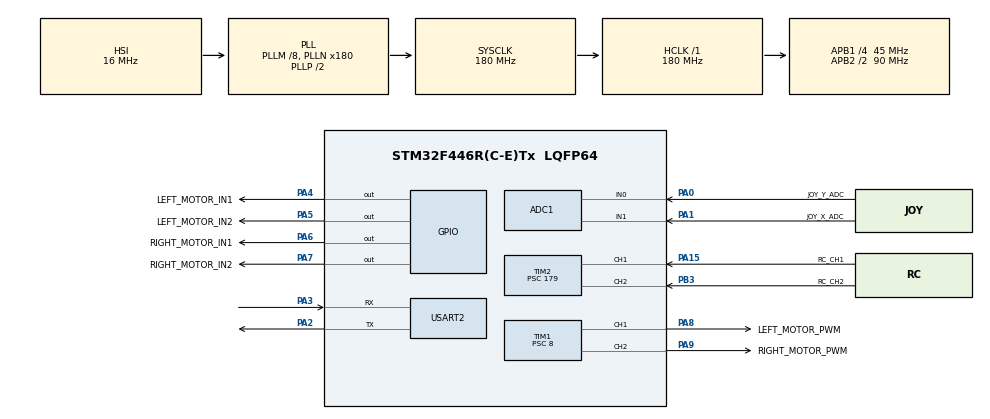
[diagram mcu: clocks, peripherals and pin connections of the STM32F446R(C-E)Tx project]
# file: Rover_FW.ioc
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ADC1.Channel-0\#ChannelRegularConversion=ADC_CHANNEL_0
ADC1.NbrOfConversionFlag=1
ADC1.Rank-0\#ChannelRegularConversion=1
ADC1.SamplingTime-0\#ChannelRegularConversion=ADC_SAMPLETIME_3CYCLES
ADC1.master=1
FREERTOS.Tasks01=defaultTask,24,128,StartDefaultTask,Default,NULL,Dynamic,NULL,NULL
IWDG.Prescaler=IWDG_PRESCALER_32
Mcu.Family=STM32F4
Mcu.Name=STM32F446R(C-E)Tx
Mcu.Package=LQFP64
NVIC.PriorityGroup=NVIC_PRIORITYGROUP_4
NVIC.TIM2_IRQn=true\:5\:0\:false\:false\:true\:true\:true\:true\:true
PA0-WKUP.GPIO_Label=JOY_Y_ADC
PA0-WKUP.Signal=ADCx_IN0
PA1.GPIO_Label=JOY_X_ADC
PA1.Signal=ADCx_IN1
PA15.GPIO_Label=RC_CH1
PA15.Signal=S_TIM2_CH1_ETR
PA2.Mode=Asynchronous
PA2.Signal=USART2_TX
PA3.Mode=Asynchronous
PA3.Signal=USART2_RX
PA4.GPIO_Label=LEFT_MOTOR_IN1
PA4.Signal=GPIO_Output
PA5.GPIO_Label=LEFT_MOTOR_IN2
PA5.Signal=GPIO_Output
PA6.GPIO_Label=RIGHT_MOTOR_IN1
PA6.Signal=GPIO_Output
PA7.GPIO_Label=RIGHT_MOTOR_IN2
PA7.Signal=GPIO_Output
PA8.GPIO_Label=LEFT_MOTOR_PWM
PA8.Signal=S_TIM1_CH1
PA9.GPIO_Label=RIGHT_MOTOR_PWM
PA9.Signal=S_TIM1_CH2
PB3.GPIO_Label=RC_CH2
PB3.Signal=S_TIM2_CH2
ProjectManager.HeapSize=0x200
ProjectManager.StackSize=0x400
ProjectManager.TargetToolchain=STM32CubeIDE
RCC.AHBFreq_Value=180000000
RCC.APB1CLKDivider=RCC_HCLK_DIV4
RCC.APB1Freq_Value=45000000
RCC.APB1TimFreq_Value=90000000
RCC.APB2CLKDivider=RCC_HCLK_DIV2
RCC.APB2Freq_Value=90000000
RCC.APB2TimFreq_Value=180000000
RCC.CortexFreq_Value=180000000
RCC.HCLKFreq_Value=180000000
RCC.PLLM=8
RCC.PLLN=180
RCC.SYSCLKFreq_VALUE=180000000
RCC.SYSCLKSource=RCC_SYSCLKSOURCE_PLLCLK
RCC.USBFreq_Value=180000000
RCC.VCOOutputFreq_Value=360000000
SH.ADCx_IN0.0=ADC1_IN0,IN0
SH.ADCx_IN1.0=ADC1_IN1,IN1
SH.S_TIM1_CH1.0=TIM1_CH1,PWM Generation1 CH1
SH.S_TIM1_CH2.0=TIM1_CH2,PWM Generation2 CH2
SH.S_TIM2_CH1_ETR.0=TIM2_CH1,Input_Capture1_from_TI1
SH.S_TIM2_CH2.0=TIM2_CH2,Input_Capture2_from_TI2
TIM1.Channel-PWM\ Generation1\ CH1=TIM_CHANNEL_1
TIM1.Channel-PWM\ Generation2\ CH2=TIM_CHANNEL_2
TIM1.Period=999
TIM1.Prescaler=8
TIM2.Channel-Input_Capture1_from_TI1=TIM_CHANNEL_1
TIM2.Channel-Input_Capture2_from_TI2=TIM_CHANNEL_2
TIM2.Prescaler=179
USART2.VirtualMode=VM_ASYNC
VP_FREERTOS_VS_CMSIS_V2.Mode=CMSIS_V2
VP_IWDG_VS_IWDG.Mode=IWDG_Activate
board=custom

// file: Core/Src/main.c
/* USER CODE BEGIN Header */
/**
  ******************************************************************************
  * @file           : main.c
  * @brief          : Main program body
  ******************************************************************************
  * @attention
  *
  * Copyright (c) 2026 STMicroelectronics.
  * All rights reserved.
  *
  * This software is licensed under terms that can be found in the LICENSE file
  * in the root directory of this software component.
  * If no LICENSE file comes with this software, it is provided AS-IS.
  *
  ******************************************************************************
  */
/* USER CODE END Header */
#include "main.h"
#include "cmsis_os.h"

/* USER CODE BEGIN Includes */
#include "Tasks/appTask.h"
#include "Tasks/commTask.h"
#include "Tasks/watchdogTask.h"
#include "Tasks/appConf.h"

#include "Drivers/PWM.h"
#include "Drivers/ADC.h"
#include "Drivers/RC.h"
/* USER CODE END Includes */

ADC_HandleTypeDef hadc1;

IWDG_HandleTypeDef hiwdg;

TIM_HandleTypeDef htim1;
TIM_HandleTypeDef htim2;

UART_HandleTypeDef huart2;

/* Definitions for defaultTask */
osThreadId_t defaultTaskHandle;
const osThreadAttr_t defaultTask_attributes = {
  .name = "defaultTask",
  .stack_size = 128 * 4,
  .priority = (osPriority_t) osPriorityNormal,
};
/* USER CODE BEGIN PV */
osThreadId_t appTaskHandle;
osThreadId_t commTaskHandle;
osThreadId_t watchdogTaskHandle;
/* USER CODE END PV */

void SystemClock_Config(void);
static void MX_GPIO_Init(void);
static void MX_ADC1_Init(void);
static void MX_TIM1_Init(void);
static void MX_USART2_UART_Init(void);
static void MX_IWDG_Init(void);
static void MX_TIM2_Init(void);
void StartDefaultTask(void *argument);

/* USER CODE BEGIN 0 */
/* USER CODE BEGIN RTOS_THREADS_ATTRIBUTES */

const osThreadAttr_t appTask_attributes = {
  .name = "AppTask",
  .priority = (osPriority_t) osPriorityNormal,
  .stack_size = 512 * 4
};

const osThreadAttr_t commTask_attributes = {
  .name = "CommTask",
  .priority = (osPriority_t) osPriorityLow,
  .stack_size = 512 * 4
};

const osThreadAttr_t watchdogTask_attributes = {
  .name = "WatchdogTask",
  .priority = (osPriority_t) osPriorityHigh,
  .stack_size = 256 * 4
};

/* USER CODE END RTOS_THREADS_ATTRIBUTES */
/* USER CODE END 0 */

int main(void)
{

  /* MCU Configuration--------------------------------------------------------*/

  /* Reset of all peripherals, Initializes the Flash interface and the Systick. */
  HAL_Init();

  /* Configure the system clock */
  SystemClock_Config();

  /* Initialize all configured peripherals */
  MX_GPIO_Init();
  MX_ADC1_Init();
  MX_TIM1_Init();
  MX_USART2_UART_Init();
  MX_IWDG_Init();
  MX_TIM2_Init();
  /* USER CODE BEGIN 2 */
  PWM_Init();
  ADC_Init();
  RC_Init();

  /* USER CODE END 2 */

  /* Init scheduler */
  osKernelInitialize();

  /* Create the thread(s) */
  /* creation of defaultTask */
  defaultTaskHandle = osThreadNew(StartDefaultTask, NULL, &defaultTask_attributes);

  /* USER CODE BEGIN RTOS_THREADS */
  appTaskHandle = osThreadNew(AppTask, NULL, &appTask_attributes);
  commTaskHandle = osThreadNew(CommTask, NULL, &commTask_attributes);
  watchdogTaskHandle = osThreadNew(WatchdogTask, NULL, &watchdogTask_attributes);
  /* USER CODE END RTOS_THREADS */

  /* Start scheduler */
  osKernelStart();

  /* We should never get here as control is now taken by the scheduler */

  /* Infinite loop */
  while (1)
  {

  }
}

void SystemClock_Config(void)
{
  RCC_OscInitTypeDef RCC_OscInitStruct = {0};
  RCC_ClkInitTypeDef RCC_ClkInitStruct = {0};

  /** Configure the main internal regulator output voltage
  */
  __HAL_RCC_PWR_CLK_ENABLE();
  __HAL_PWR_VOLTAGESCALING_CONFIG(PWR_REGULATOR_VOLTAGE_SCALE1);

  /** Initializes the RCC Oscillators according to the specified parameters
  * in the RCC_OscInitTypeDef structure.
  */
  RCC_OscInitStruct.OscillatorType = RCC_OSCILLATORTYPE_HSI|RCC_OSCILLATORTYPE_LSI;
  RCC_OscInitStruct.HSIState = RCC_HSI_ON;
  RCC_OscInitStruct.HSICalibrationValue = RCC_HSICALIBRATION_DEFAULT;
  RCC_OscInitStruct.LSIState = RCC_LSI_ON;
  RCC_OscInitStruct.PLL.PLLState = RCC_PLL_ON;
  RCC_OscInitStruct.PLL.PLLSource = RCC_PLLSOURCE_HSI;
  RCC_OscInitStruct.PLL.PLLM = 8;
  RCC_OscInitStruct.PLL.PLLN = 180;
  RCC_OscInitStruct.PLL.PLLP = RCC_PLLP_DIV2;
  RCC_OscInitStruct.PLL.PLLQ = 2;
  RCC_OscInitStruct.PLL.PLLR = 2;
  if (HAL_RCC_OscConfig(&RCC_OscInitStruct) != HAL_OK)
  {
    Error_Handler();
  }

  /** Activate the Over-Drive mode
  */
  if (HAL_PWREx_EnableOverDrive() != HAL_OK)
  {
    Error_Handler();
  }

  /** Initializes the CPU, AHB and APB buses clocks
  */
  RCC_ClkInitStruct.ClockType = RCC_CLOCKTYPE_HCLK|RCC_CLOCKTYPE_SYSCLK
                              |RCC_CLOCKTYPE_PCLK1|RCC_CLOCKTYPE_PCLK2;
  RCC_ClkInitStruct.SYSCLKSource = RCC_SYSCLKSOURCE_PLLCLK;
  RCC_ClkInitStruct.AHBCLKDivider = RCC_SYSCLK_DIV1;
  RCC_ClkInitStruct.APB1CLKDivider = RCC_HCLK_DIV4;
  RCC_ClkInitStruct.APB2CLKDivider = RCC_HCLK_DIV2;

  if (HAL_RCC_ClockConfig(&RCC_ClkInitStruct, FLASH_LATENCY_5) != HAL_OK)
  {
    Error_Handler();
  }
}

static void MX_ADC1_Init(void)
{

  ADC_ChannelConfTypeDef sConfig = {0};

  /** Configure the global features of the ADC (Clock, Resolution, Data Alignment and number of conversion)
  */
  hadc1.Instance = ADC1;
  hadc1.Init.ClockPrescaler = ADC_CLOCK_SYNC_PCLK_DIV4;
  hadc1.Init.Resolution = ADC_RESOLUTION_12B;
  hadc1.Init.ScanConvMode = DISABLE;
  hadc1.Init.ContinuousConvMode = DISABLE;
  hadc1.Init.DiscontinuousConvMode = DISABLE;
  hadc1.Init.ExternalTrigConvEdge = ADC_EXTERNALTRIGCONVEDGE_NONE;
  hadc1.Init.ExternalTrigConv = ADC_SOFTWARE_START;
  hadc1.Init.DataAlign = ADC_DATAALIGN_RIGHT;
  hadc1.Init.NbrOfConversion = 1;
  hadc1.Init.DMAContinuousRequests = DISABLE;
  hadc1.Init.EOCSelection = ADC_EOC_SINGLE_CONV;
  if (HAL_ADC_Init(&hadc1) != HAL_OK)
  {
    Error_Handler();
  }

  /** Configure for the selected ADC regular channel its corresponding rank in the sequencer and its sample time.
  */
  sConfig.Channel = ADC_CHANNEL_0;
  sConfig.Rank = 1;
  sConfig.SamplingTime = ADC_SAMPLETIME_3CYCLES;
  if (HAL_ADC_ConfigChannel(&hadc1, &sConfig) != HAL_OK)
  {
    Error_Handler();
  }

}

static void MX_IWDG_Init(void)
{

  hiwdg.Instance = IWDG;
  hiwdg.Init.Prescaler = IWDG_PRESCALER_32;
  hiwdg.Init.Reload = 4095;
  if (HAL_IWDG_Init(&hiwdg) != HAL_OK)
  {
    Error_Handler();
  }

}

static void MX_TIM1_Init(void)
{

  TIM_MasterConfigTypeDef sMasterConfig = {0};
  TIM_OC_InitTypeDef sConfigOC = {0};
  TIM_BreakDeadTimeConfigTypeDef sBreakDeadTimeConfig = {0};

  htim1.Instance = TIM1;
  htim1.Init.Prescaler = 8;
  htim1.Init.CounterMode = TIM_COUNTERMODE_UP;
  htim1.Init.Period = 999;
  htim1.Init.ClockDivision = TIM_CLOCKDIVISION_DIV1;
  htim1.Init.RepetitionCounter = 0;
  htim1.Init.AutoReloadPreload = TIM_AUTORELOAD_PRELOAD_DISABLE;
  if (HAL_TIM_PWM_Init(&htim1) != HAL_OK)
  {
    Error_Handler();
  }
  sMasterConfig.MasterOutputTrigger = TIM_TRGO_RESET;
  sMasterConfig.MasterSlaveMode = TIM_MASTERSLAVEMODE_DISABLE;
  if (HAL_TIMEx_MasterConfigSynchronization(&htim1, &sMasterConfig) != HAL_OK)
  {
    Error_Handler();
  }
  sConfigOC.OCMode = TIM_OCMODE_PWM1;
  sConfigOC.Pulse = 0;
  sConfigOC.OCPolarity = TIM_OCPOLARITY_HIGH;
  sConfigOC.OCNPolarity = TIM_OCNPOLARITY_HIGH;
  sConfigOC.OCFastMode = TIM_OCFAST_DISABLE;
  sConfigOC.OCIdleState = TIM_OCIDLESTATE_RESET;
  sConfigOC.OCNIdleState = TIM_OCNIDLESTATE_RESET;
  if (HAL_TIM_PWM_ConfigChannel(&htim1, &sConfigOC, TIM_CHANNEL_1) != HAL_OK)
  {
    Error_Handler();
  }
  if (HAL_TIM_PWM_ConfigChannel(&htim1, &sConfigOC, TIM_CHANNEL_2) != HAL_OK)
  {
    Error_Handler();
  }
  sBreakDeadTimeConfig.OffStateRunMode = TIM_OSSR_DISABLE;
  sBreakDeadTimeConfig.OffStateIDLEMode = TIM_OSSI_DISABLE;
  sBreakDeadTimeConfig.LockLevel = TIM_LOCKLEVEL_OFF;
  sBreakDeadTimeConfig.DeadTime = 0;
  sBreakDeadTimeConfig.BreakState = TIM_BREAK_DISABLE;
  sBreakDeadTimeConfig.BreakPolarity = TIM_BREAKPOLARITY_HIGH;
  sBreakDeadTimeConfig.AutomaticOutput = TIM_AUTOMATICOUTPUT_DISABLE;
  if (HAL_TIMEx_ConfigBreakDeadTime(&htim1, &sBreakDeadTimeConfig) != HAL_OK)
  {
    Error_Handler();
  }
  HAL_TIM_MspPostInit(&htim1);

}

static void MX_TIM2_Init(void)
{

  TIM_MasterConfigTypeDef sMasterConfig = {0};
  TIM_IC_InitTypeDef sConfigIC = {0};

  htim2.Instance = TIM2;
  htim2.Init.Prescaler = 89;
  htim2.Init.CounterMode = TIM_COUNTERMODE_UP;
  htim2.Init.Period = 4294967295;
  htim2.Init.ClockDivision = TIM_CLOCKDIVISION_DIV1;
  htim2.Init.AutoReloadPreload = TIM_AUTORELOAD_PRELOAD_DISABLE;
  if (HAL_TIM_IC_Init(&htim2) != HAL_OK)
  {
    Error_Handler();
  }
  sMasterConfig.MasterOutputTrigger = TIM_TRGO_RESET;
  sMasterConfig.MasterSlaveMode = TIM_MASTERSLAVEMODE_DISABLE;
  if (HAL_TIMEx_MasterConfigSynchronization(&htim2, &sMasterConfig) != HAL_OK)
  {
    Error_Handler();
  }
  sConfigIC.ICPolarity = TIM_INPUTCHANNELPOLARITY_RISING;
  sConfigIC.ICSelection = TIM_ICSELECTION_DIRECTTI;
  sConfigIC.ICPrescaler = TIM_ICPSC_DIV1;
  sConfigIC.ICFilter = 0;
  if (HAL_TIM_IC_ConfigChannel(&htim2, &sConfigIC, TIM_CHANNEL_1) != HAL_OK)
  {
    Error_Handler();
  }
  if (HAL_TIM_IC_ConfigChannel(&htim2, &sConfigIC, TIM_CHANNEL_2) != HAL_OK)
  {
    Error_Handler();
  }

}

static void MX_USART2_UART_Init(void)
{

  huart2.Instance = USART2;
  huart2.Init.BaudRate = 115200;
  huart2.Init.WordLength = UART_WORDLENGTH_8B;
  huart2.Init.StopBits = UART_STOPBITS_1;
  huart2.Init.Parity = UART_PARITY_NONE;
  huart2.Init.Mode = UART_MODE_TX_RX;
  huart2.Init.HwFlowCtl = UART_HWCONTROL_NONE;
  huart2.Init.OverSampling = UART_OVERSAMPLING_16;
  if (HAL_UART_Init(&huart2) != HAL_OK)
  {
    Error_Handler();
  }

}

static void MX_GPIO_Init(void)
{
  GPIO_InitTypeDef GPIO_InitStruct = {0};

  /* GPIO Ports Clock Enable */
  __HAL_RCC_GPIOA_CLK_ENABLE();
  __HAL_RCC_GPIOB_CLK_ENABLE();

  /*Configure GPIO pin Output Level */
  HAL_GPIO_WritePin(GPIOA, LEFT_MOTOR_IN1_Pin|LEFT_MOTOR_IN2_Pin|RIGHT_MOTOR_IN1_Pin|RIGHT_MOTOR_IN2_Pin, GPIO_PIN_RESET);

  /*Configure GPIO pins : LEFT_MOTOR_IN1_Pin LEFT_MOTOR_IN2_Pin RIGHT_MOTOR_IN1_Pin RIGHT_MOTOR_IN2_Pin */
  GPIO_InitStruct.Pin = LEFT_MOTOR_IN1_Pin|LEFT_MOTOR_IN2_Pin|RIGHT_MOTOR_IN1_Pin|RIGHT_MOTOR_IN2_Pin;
  GPIO_InitStruct.Mode = GPIO_MODE_OUTPUT_PP;
  GPIO_InitStruct.Pull = GPIO_NOPULL;
  GPIO_InitStruct.Speed = GPIO_SPEED_FREQ_LOW;
  HAL_GPIO_Init(GPIOA, &GPIO_InitStruct);

}

void StartDefaultTask(void *argument)
{
  for(;;)
  {
    osDelay(1);
  }
}

void Error_Handler(void)
{
  __disable_irq();
  while (1)
  {
  }
}
